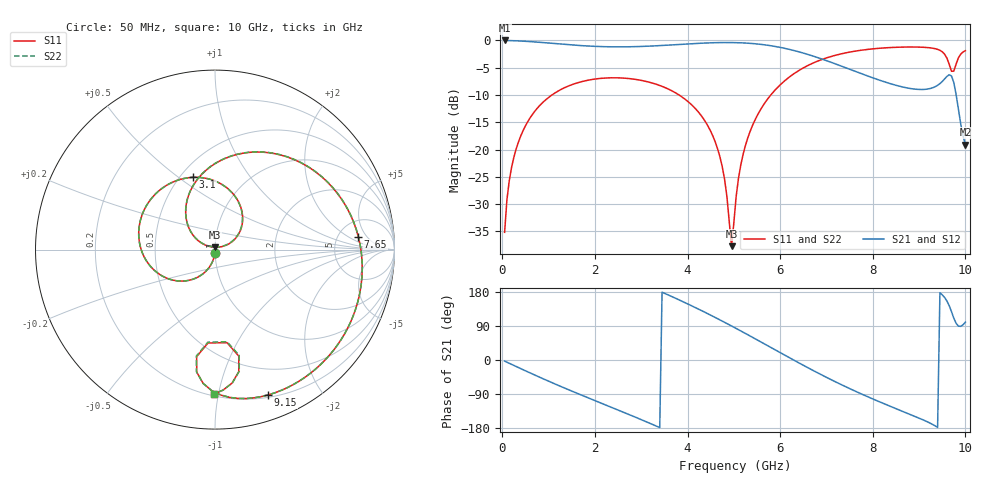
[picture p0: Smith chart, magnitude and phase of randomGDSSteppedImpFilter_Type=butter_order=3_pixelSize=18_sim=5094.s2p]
! freq	dB(S11)	phase(S11)	dB(S12)	phase(S12)
!  dB(S21)	phase(S21)	dB(S22)	phase(S22)
!S-par simulation data
#  GHz  S  DB  R 50
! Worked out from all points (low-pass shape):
!   200 points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, 50 MHz to 10 GHz, reference 50 ohm
!   highest |S21| = -0.01 dB at 50 MHz (marker M1); lowest = -19.1 dB at 10 GHz (marker M2)
!   |S21| within 3 dB of the highest: start of sweep to 6.761 GHz
!   lowest |S11| = -37.7 dB at 4.95 GHz (marker M3), VSWR 1.03, Z = 50.1 + j1.3 ohm
!   |S11| at or under -10 dB: start of sweep to 1.072 GHz; 3.817 GHz to 5.798 GHz (1.981 GHz wide, 41.2 % of centre)
!   |S22| runs from -36.9 to -1.2 dB; largest |S21 - S12| = 0
!   S11 on the Smith chart (normalised r, x): 50 MHz: 1.00, -0.03; 3.1 GHz: 0.58, +0.56; 7.65 GHz: 7.77, +3.16; 9.15 GHz: 0.22, -1.41; 10 GHz: 0.21, -0.97
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0.05  -35.17 -92.7  -0.01 -2.9  -0.01 -2.9  -35.17 -92.7
0.2  -23.30 -101.8  -0.04 -11.5  -0.04 -11.5  -23.30 -101.8
0.5  -15.65 -119.0  -0.16 -28.5  -0.16 -28.5  -15.65 -119.0
1.1  -9.83 -151.8  -0.55 -61.2  -0.55 -61.2  -9.83 -151.8
1.75  -7.48 174.7  -0.98 -94.7  -0.98 -94.7  -7.48 174.7
3.1  -7.50 107.2  -1.08 -162.5  -1.08 -162.5  -7.50 107.3
3.4  -8.26 91.5  -0.95 -178.3  -0.95 -178.3  -8.26 91.7
4.55  -17.59 28.9  -0.43 115.2  -0.43 115.2  -17.58 29.6
4.8  -25.46 21.6  -0.39 99.5  -0.39 99.5  -25.41 23.2
4.95  -37.71 85.4  -0.39 89.8  -0.39 89.8  -36.87 86.0
5.05  -28.61 151.3  -0.41 83.3  -0.41 83.3  -28.49 149.6
5.25  -19.27 151.7  -0.48 70.1  -0.48 70.1  -19.25 151.2
5.55  -13.07 135.1  -0.69 50.0  -0.69 50.0  -13.07 135.1
6.1  -7.39 99.7  -1.45 12.7  -1.45 12.7  -7.38 99.9
6.7  -4.19 61.0  -2.84 -26.9  -2.84 -26.9  -4.19 61.2
7.65  -1.92 5.2  -5.76 -83.9  -5.76 -83.9  -1.92 5.5
8.35  -1.32 -30.7  -7.85 -120.8  -7.85 -120.8  -1.32 -30.5
9.15  -1.29 -69.9  -8.95 -161.4  -8.95 -161.4  -1.29 -69.8
9.5  -2.09 -91.3  -7.53 172.0  -7.53 172.0  -2.09 -91.3
9.7  -5.65 -94.3  -6.51 127.5  -6.51 127.5  -5.72 -94.4
9.8  -4.32 -77.4  -9.95 96.7  -9.95 96.7  -4.37 -77.1
10  -1.88 -90.5  -19.08 99.9  -19.08 99.9  -1.90 -90.4
